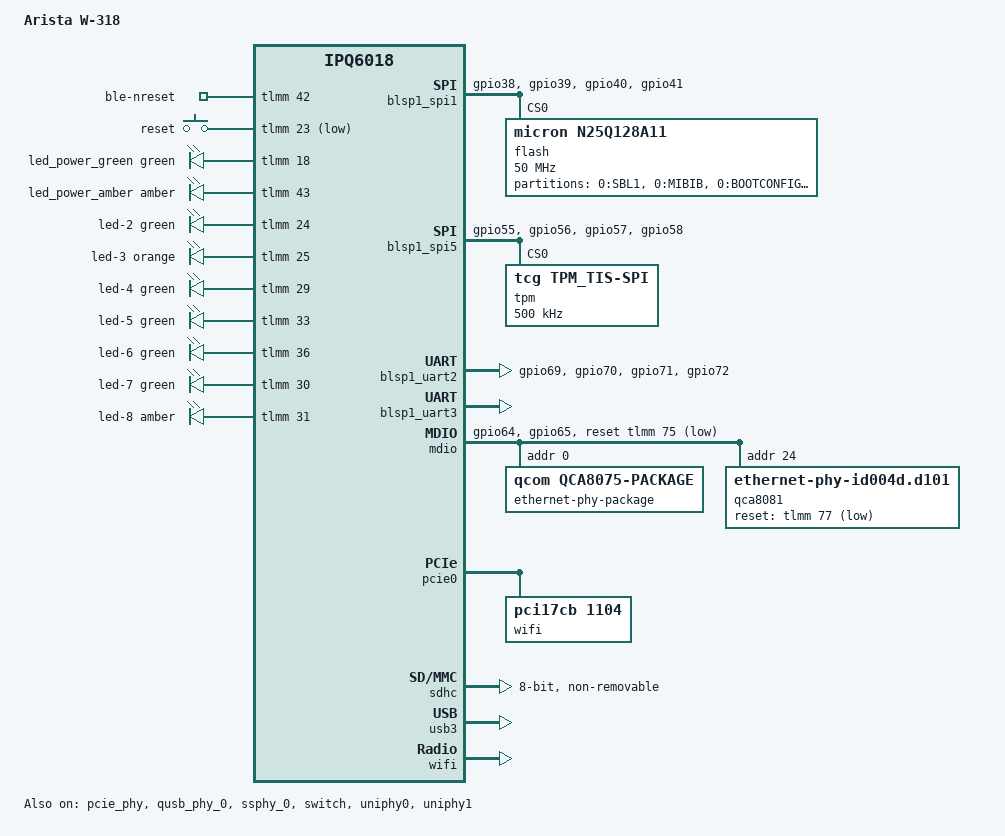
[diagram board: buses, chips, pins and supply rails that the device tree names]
// SPDX-License-Identifier: GPL-2.0-or-later OR MIT

/dts-v1/;

#include "ipq6018.dtsi"
#include "ipq6018-ess.dtsi"
#include <dt-bindings/gpio/gpio.h>
#include <dt-bindings/input/input.h>
#include <dt-bindings/leds/common.h>

/ {
	model = "Arista W-318";
	compatible = "arista,w-318", "qcom,ipq6018-cp01", "qcom,ipq6018";

	aliases {
		serial0 = &blsp1_uart3;
		serial1 = &blsp1_uart2;
		ethernet0 = &swport5;
		label-mac-device = &swport5;
		led-boot = &led_power_amber;
		led-failsafe = &led_power_amber;
		led-running = &led_power_green;
		led-upgrade = &led_power_amber;
	};

	chosen {
		stdout-path = "serial0:115200n8";
	};

	gpio-export {
		compatible = "gpio-export";

		ble-nreset {
			gpio-export,name = "ble-nreset";
			gpio-export,output = <1>;
			gpios = <&tlmm 42 GPIO_ACTIVE_HIGH>;
		};
	};

	keys {
		compatible = "gpio-keys";
		pinctrl-0 = <&button_pins>;
		pinctrl-names = "default";

		reset {
			label = "reset";
			gpios = <&tlmm 23 GPIO_ACTIVE_LOW>;
			linux,code = <KEY_RESTART>;
			debounce-interval = <60>;
		};
	};

	leds {
		compatible = "gpio-leds";
		pinctrl-0 = <&led_pins>;
		pinctrl-names = "default";

		led_power_green: led-0 {
			color = <LED_COLOR_ID_GREEN>;
			function = LED_FUNCTION_POWER;
			gpios = <&tlmm 18 GPIO_ACTIVE_HIGH>;
		};

		led_power_amber: led-1 {
			color = <LED_COLOR_ID_AMBER>;
			function = LED_FUNCTION_POWER;
			gpios = <&tlmm 43 GPIO_ACTIVE_HIGH>;
		};

		led-2 {
			color = <LED_COLOR_ID_GREEN>;
			function = "uplink";
			gpios = <&tlmm 24 GPIO_ACTIVE_HIGH>;
		};

		led-3 {
			color = <LED_COLOR_ID_ORANGE>;
			function = "uplink";
			gpios = <&tlmm 25 GPIO_ACTIVE_HIGH>;
		};

		led-4 {
			color = <LED_COLOR_ID_GREEN>;
			function = LED_FUNCTION_WLAN_2GHZ;
			gpios = <&tlmm 29 GPIO_ACTIVE_HIGH>;
		};

		led-5 {
			color = <LED_COLOR_ID_GREEN>;
			function = LED_FUNCTION_WLAN_5GHZ;
			gpios = <&tlmm 33 GPIO_ACTIVE_HIGH>;
		};

		led-6 {
			color = <LED_COLOR_ID_GREEN>;
			function = LED_FUNCTION_WLAN_6GHZ;
			gpios = <&tlmm 36 GPIO_ACTIVE_HIGH>;
		};

		/* one LED for the three LAN ports, "Network 1/2/3" */
		led-7 {
			color = <LED_COLOR_ID_GREEN>;
			function = LED_FUNCTION_LAN;
			gpios = <&tlmm 30 GPIO_ACTIVE_HIGH>;
		};

		led-8 {
			color = <LED_COLOR_ID_AMBER>;
			function = LED_FUNCTION_LAN;
			gpios = <&tlmm 31 GPIO_ACTIVE_HIGH>;
		};
	};
};

&blsp1_spi1 {
	pinctrl-0 = <&spi_0_pins>;
	pinctrl-names = "default";
	status = "okay";

	flash@0 {
		reg = <0>;
		/* U-Boot looks for the "n25q128a11" node */
		linux,modalias = "m25p80", "n25q128a11";
		compatible = "micron,n25q128a11", "jedec,spi-nor";
		spi-max-frequency = <50000000>;

		partitions {
			compatible = "fixed-partitions";
			#address-cells = <1>;
			#size-cells = <1>;

			partition@0 {
				label = "0:SBL1";
				reg = <0x0 0xc0000>;
				read-only;
			};

			partition@c0000 {
				label = "0:MIBIB";
				reg = <0xc0000 0x10000>;
				read-only;
			};

			partition@d0000 {
				label = "0:BOOTCONFIG";
				reg = <0xd0000 0x20000>;
				read-only;
			};

			partition@f0000 {
				label = "0:BOOTCONFIG1";
				reg = <0xf0000 0x20000>;
				read-only;
			};

			partition@110000 {
				label = "0:QSEE";
				reg = <0x110000 0x1a0000>;
				read-only;
			};

			partition@2b0000 {
				label = "0:QSEE_1";
				reg = <0x2b0000 0x1a0000>;
				read-only;
			};

			partition@450000 {
				label = "0:DEVCFG";
				reg = <0x450000 0x10000>;
				read-only;
			};

			partition@460000 {
				label = "0:DEVCFG_1";
				reg = <0x460000 0x10000>;
				read-only;
			};

			partition@470000 {
				label = "0:RPM";
				reg = <0x470000 0x40000>;
				read-only;
			};

			partition@4b0000 {
				label = "0:RPM_1";
				reg = <0x4b0000 0x40000>;
				read-only;
			};

			partition@4f0000 {
				label = "0:CDT";
				reg = <0x4f0000 0x10000>;
				read-only;
			};

			partition@500000 {
				label = "0:CDT_1";
				reg = <0x500000 0x10000>;
				read-only;
			};

			partition@510000 {
				label = "0:APPSBLENV";
				reg = <0x510000 0x10000>;
			};

			partition@520000 {
				label = "0:APPSBL";
				reg = <0x520000 0x100000>;
				read-only;
			};

			partition@620000 {
				label = "0:APPSBL_1";
				reg = <0x620000 0x100000>;
				read-only;
			};

			partition@720000 {
				label = "0:ART";
				reg = <0x720000 0x80000>;
				read-only;

				nvmem-layout {
					compatible = "fixed-layout";
					#address-cells = <1>;
					#size-cells = <1>;

					macaddr_art_0: macaddr@0 {
						reg = <0x0 0x6>;
					};

					macaddr_art_6: macaddr@6 {
						reg = <0x6 0x6>;
					};

					macaddr_art_c: macaddr@c {
						reg = <0xc 0x6>;
					};

					macaddr_art_12: macaddr@12 {
						reg = <0x12 0x6>;
					};

					caldata_ipq6018: calibration@1000 {
						reg = <0x1000 0x10000>;
					};

					caldata_qcn9074: calibration@26800 {
						reg = <0x26800 0x20000>;
					};
				};
			};

			/* OpenWrt's kernel; the stock firmware's slot 0 kernel */
			partition@7a0000 {
				label = "0:HLOS";
				reg = <0x7a0000 0x800000>;
			};

			/* the stock firmware's slot 1 kernel */
			partition@fa0000 {
				label = "0:HLOS_1";
				reg = <0xfa0000 0x800000>;
				read-only;
			};

			partition@17a0000 {
				label = "CONFIG";
				reg = <0x17a0000 0x400000>;
				read-only;
			};

			partition@1ba0000 {
				label = "DEVCERT";
				reg = <0x1ba0000 0x20000>;
				read-only;
			};

			partition@1bc0000 {
				label = "SYS_DATA";
				reg = <0x1bc0000 0x220000>;
				read-only;
			};

			partition@1de0000 {
				label = "RESERVED";
				reg = <0x1de0000 0x220000>;
				read-only;
			};
		};
	};
};

&blsp1_spi5 {
	pinctrl-0 = <&tpm_spi_pins>;
	pinctrl-names = "default";
	status = "okay";

	tpm@0 {
		compatible = "tcg,tpm_tis-spi";
		reg = <0>;
		spi-max-frequency = <500000>;
	};
};

/* the Nordic nRF52833 Bluetooth LE controller, H4 without flow control */
&blsp1_uart2 {
	pinctrl-0 = <&ble_uart_pins>;
	pinctrl-names = "default";
	status = "okay";
};

&blsp1_uart3 {
	pinctrl-0 = <&serial_3_pins>;
	pinctrl-names = "default";
	status = "okay";
};

&edma {
	status = "okay";
};

&mdio {
	status = "okay";
	pinctrl-0 = <&mdio_pins>;
	pinctrl-names = "default";
	reset-gpios = <&tlmm 75 GPIO_ACTIVE_LOW>;
	reset-delay-us = <10000>;
	reset-post-delay-us = <50000>;

	ethernet-phy-package@0 {
		#address-cells = <1>;
		#size-cells = <0>;
		compatible = "qcom,qca8075-package";
		reg = <0>;

		qcom,package-mode = "psgmii";

		qca8075_1: ethernet-phy@1 {
			compatible = "ethernet-phy-ieee802.3-c22";
			reg = <1>;
		};

		qca8075_2: ethernet-phy@2 {
			compatible = "ethernet-phy-ieee802.3-c22";
			reg = <2>;
		};

		qca8075_3: ethernet-phy@3 {
			compatible = "ethernet-phy-ieee802.3-c22";
			reg = <3>;
		};
	};

	qca8081: ethernet-phy@24 {
		compatible = "ethernet-phy-id004d.d101";
		reg = <24>;
		reset-gpios = <&tlmm 77 GPIO_ACTIVE_LOW>;
		reset-assert-us = <10000>;
		reset-deassert-us = <50000>;
	};
};

&pcie0 {
	status = "okay";
	perst-gpios = <&tlmm 60 GPIO_ACTIVE_LOW>;

	pcie@0 {
		/* QCN9072, the 2x2 QCN9074: the 6 GHz radio */
		wifi@0,0 {
			compatible = "pci17cb,1104";
			reg = <0x00010000 0 0 0 0>;

			qcom,ath11k-fw-memory-mode = <0>;
			qcom,calibration-variant = "Arista-W318";
			nvmem-cells = <&caldata_qcn9074>;
			nvmem-cell-names = "calibration";
		};
	};
};

&pcie_phy {
	status = "okay";
};

&qusb_phy_0 {
	status = "okay";
};

&rpm {
	status = "disabled";
};

&sdhc {
	bus-width = <8>;
	mmc-ddr-1_8v;
	mmc-hs200-1_8v;
	non-removable;
	status = "okay";
};

&ssphy_0 {
	status = "okay";
};

&switch {
	status = "okay";

	ports {
		#address-cells = <1>;
		#size-cells = <0>;

		port@0 {
			reg = <0>;
			ethernet = <&edma>;
			phy-mode = "internal";

			fixed-link {
				speed = <1000>;
				full-duplex;
			};
		};

		/* the panel numbers the LAN ports the other way round from the PHYs */
		swport2: port@2 {
			reg = <2>;
			label = "lan3";
			phy-handle = <&qca8075_1>;
			phy-mode = "psgmii";
			pcs-handle = <&uniphy0 1>;
			nvmem-cells = <&macaddr_art_6>;
			nvmem-cell-names = "mac-address";
		};

		swport3: port@3 {
			reg = <3>;
			label = "lan2";
			phy-handle = <&qca8075_2>;
			phy-mode = "psgmii";
			pcs-handle = <&uniphy0 2>;
			nvmem-cells = <&macaddr_art_c>;
			nvmem-cell-names = "mac-address";
		};

		swport4: port@4 {
			reg = <4>;
			label = "lan1";
			phy-handle = <&qca8075_3>;
			phy-mode = "psgmii";
			pcs-handle = <&uniphy0 3>;
			nvmem-cells = <&macaddr_art_12>;
			nvmem-cell-names = "mac-address";
		};

		/* 2.5 GbE, PoE in */
		swport5: port@5 {
			reg = <5>;
			label = "uplink";
			phy-handle = <&qca8081>;
			phy-mode = "2500base-x";
			pcs-handle = <&uniphy1 0>;
			nvmem-cells = <&macaddr_art_0>;
			nvmem-cell-names = "mac-address";
		};
	};
};

&tlmm {
	/* TZ has exclusive control over GPIO20 */
	gpio-reserved-ranges = <20 1>;

	mdio_pins: mdio-pins {
		mdc {
			pins = "gpio64";
			function = "mdc";
			drive-strength = <8>;
			bias-pull-up;
		};

		mdio {
			pins = "gpio65";
			function = "mdio";
			drive-strength = <8>;
			bias-pull-up;
		};
	};

	spi_0_pins: spi-0-state {
		pins = "gpio38", "gpio39", "gpio40", "gpio41";
		function = "blsp0_spi";
		drive-strength = <8>;
		bias-pull-down;
	};

	button_pins: button-state {
		pins = "gpio23";
		function = "gpio";
		drive-strength = <8>;
		bias-pull-up;
	};

	ble_uart_pins: ble-uart-state {
		pins = "gpio69", "gpio70", "gpio71", "gpio72";
		function = "blsp1_uart";
		drive-strength = <8>;
		bias-disable;
	};

	tpm_spi_pins: tpm-spi-state {
		pins = "gpio55", "gpio56", "gpio57", "gpio58";
		function = "blsp4_spi";
		drive-strength = <8>;
		bias-disable;
	};

	led_pins: led-state {
		pins = "gpio18", "gpio24", "gpio25", "gpio29", "gpio30", "gpio31",
		       "gpio33", "gpio36", "gpio43";
		function = "gpio";
		drive-strength = <8>;
		bias-pull-down;
	};
};

&uniphy0 {
	status = "okay";
};

&uniphy1 {
	status = "okay";
};

&usb3 {
	status = "okay";
};

&wifi {
	status = "okay";
	qcom,calibration-variant = "Arista-W318";
	nvmem-cells = <&caldata_ipq6018>;
	nvmem-cell-names = "calibration";
};
